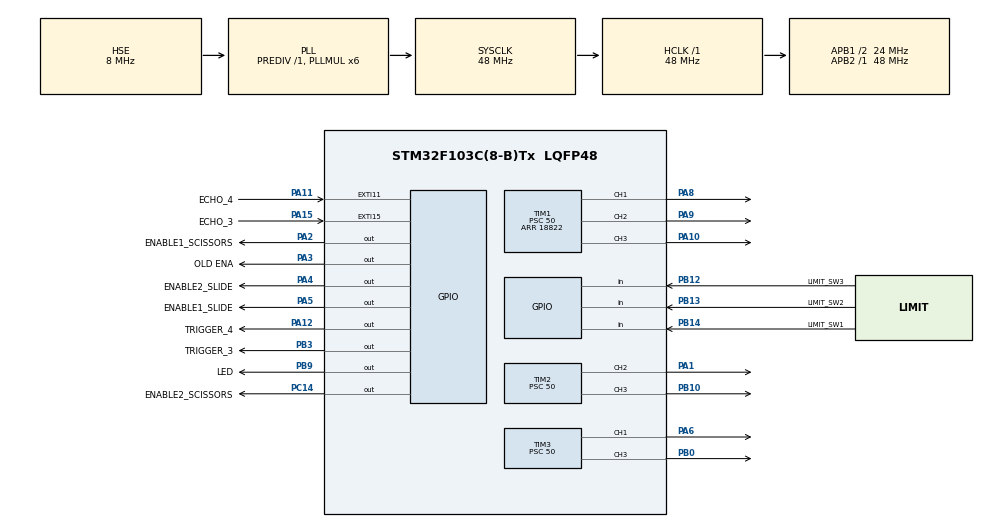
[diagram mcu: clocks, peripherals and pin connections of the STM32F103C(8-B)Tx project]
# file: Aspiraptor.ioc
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Mcu.Family=STM32F1
Mcu.Name=STM32F103C(8-B)Tx
Mcu.Package=LQFP48
NVIC.EXTI15_10_IRQn=true\:0\:0\:false\:false\:true\:true\:true\:true
NVIC.PriorityGroup=NVIC_PRIORITYGROUP_4
NVIC.TIM4_IRQn=true\:0\:0\:false\:false\:true\:true\:true\:true
PA1.Signal=S_TIM2_CH2
PA10.Signal=S_TIM1_CH3
PA11.GPIO_Label=ECHO_4
PA11.GPIO_ModeDefaultEXTI=GPIO_MODE_IT_RISING_FALLING
PA11.Signal=GPXTI11
PA12.GPIO_Label=TRIGGER_4
PA12.GPIO_Speed=GPIO_SPEED_FREQ_HIGH
PA12.Signal=GPIO_Output
PA13.Mode=Serial_Wire
PA13.Signal=SYS_JTMS-SWDIO
PA14.Mode=Serial_Wire
PA14.Signal=SYS_JTCK-SWCLK
PA15.GPIO_Label=ECHO_3
PA15.GPIO_ModeDefaultEXTI=GPIO_MODE_IT_RISING_FALLING
PA15.Signal=GPXTI15
PA2.GPIO_Label=ENABLE1_SCISSORS
PA2.Signal=GPIO_Output
PA3.GPIO_Label=OLD ENA
PA3.Signal=GPIO_Output
PA4.GPIO_Label=ENABLE2_SLIDE
PA4.Signal=GPIO_Output
PA5.GPIO_Label=ENABLE1_SLIDE
PA5.Signal=GPIO_Output
PA6.Signal=S_TIM3_CH1
PA8.Signal=S_TIM1_CH1
PA9.Signal=S_TIM1_CH2
PB0.Signal=S_TIM3_CH3
PB10.Signal=S_TIM2_CH3
PB12.GPIO_Label=LIMIT_SW3
PB12.Signal=GPIO_Input
PB13.GPIO_Label=LIMIT_SW2
PB13.Signal=GPIO_Input
PB14.GPIO_Label=LIMIT_SW1
PB14.Signal=GPIO_Input
PB3.GPIO_Label=TRIGGER_3
PB3.GPIO_Speed=GPIO_SPEED_FREQ_HIGH
PB3.Signal=GPIO_Output
PB9.GPIO_Label=LED
PB9.GPIO_Speed=GPIO_SPEED_FREQ_LOW
PB9.Signal=GPIO_Output
PC14-OSC32_IN.GPIO_Label=ENABLE2_SCISSORS
PC14-OSC32_IN.GPIO_Speed=GPIO_SPEED_FREQ_HIGH
PC14-OSC32_IN.Signal=GPIO_Output
PD0-OSC_IN.Mode=HSE-External-Oscillator
PD0-OSC_IN.Signal=RCC_OSC_IN
PD1-OSC_OUT.Mode=HSE-External-Oscillator
PD1-OSC_OUT.Signal=RCC_OSC_OUT
ProjectManager.HeapSize=0x200
ProjectManager.StackSize=0x400
ProjectManager.TargetToolchain=STM32CubeIDE
RCC.AHBFreq_Value=48000000
RCC.APB1CLKDivider=RCC_HCLK_DIV2
RCC.APB1Freq_Value=24000000
RCC.APB1TimFreq_Value=48000000
RCC.APB2Freq_Value=48000000
RCC.APB2TimFreq_Value=48000000
RCC.HCLKFreq_Value=48000000
RCC.PLLMUL=RCC_PLL_MUL6
RCC.PLLSourceVirtual=RCC_PLLSOURCE_HSE
RCC.SYSCLKFreq_VALUE=48000000
RCC.SYSCLKSource=RCC_SYSCLKSOURCE_PLLCLK
RCC.USBFreq_Value=48000000
SH.S_TIM1_CH1.0=TIM1_CH1,PWM Generation1 CH1
SH.S_TIM1_CH2.0=TIM1_CH2,PWM Generation2 CH2
SH.S_TIM1_CH3.0=TIM1_CH3,PWM Generation3 CH3
SH.S_TIM2_CH2.0=TIM2_CH2,PWM Generation2 CH2
SH.S_TIM2_CH3.0=TIM2_CH3,PWM Generation3 CH3
SH.S_TIM3_CH1.0=TIM3_CH1,PWM Generation1 CH1
SH.S_TIM3_CH3.0=TIM3_CH3,PWM Generation3 CH3
TIM1.Channel-PWM\ Generation1\ CH1=TIM_CHANNEL_1
TIM1.Channel-PWM\ Generation2\ CH2=TIM_CHANNEL_2
TIM1.Channel-PWM\ Generation3\ CH3=TIM_CHANNEL_3
TIM1.Period=18822
TIM1.Prescaler=50
TIM2.Channel-PWM\ Generation2\ CH2=TIM_CHANNEL_2
TIM2.Channel-PWM\ Generation3\ CH3=TIM_CHANNEL_3
TIM2.Period=18822
TIM2.Prescaler=50
TIM3.Channel-PWM\ Generation1\ CH1=TIM_CHANNEL_1
TIM3.Channel-PWM\ Generation3\ CH3=TIM_CHANNEL_3
TIM3.Period=18822
TIM3.Prescaler=50
TIM4.Prescaler=47
VP_TIM4_VS_ClockSourceINT.Mode=Internal
board=custom

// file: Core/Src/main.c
/* USER CODE BEGIN Header */
/**
  ******************************************************************************
  * @file           : main.c
  * @brief          : Main program body
  ******************************************************************************
  * @attention
  *
  * Copyright (c) 2026 STMicroelectronics.
  * All rights reserved.
  *
  * This software is licensed under terms that can be found in the LICENSE file
  * in the root directory of this software component.
  * If no LICENSE file comes with this software, it is provided AS-IS.
  *
  ******************************************************************************
  */
/* USER CODE END Header */
#include "main.h"

/* USER CODE BEGIN Includes */

#include <stdbool.h>

// Importation des fichiers
#include "ServoMotor.h"
#include "LimitSwitch.h"
#include "Scissors.h"
#include "Slide.h"
#include "VacuumMotor.h"
#include "UltrasonicSensor.h"
#include "MainLogic.h"

/* USER CODE END Includes */

TIM_HandleTypeDef htim1;
TIM_HandleTypeDef htim2;
TIM_HandleTypeDef htim3;
TIM_HandleTypeDef htim4;

void SystemClock_Config(void);
static void MX_GPIO_Init(void);
static void MX_TIM1_Init(void);
static void MX_TIM2_Init(void);
static void MX_TIM3_Init(void);
static void MX_TIM4_Init(void);

int main(void)
{

  /* MCU Configuration--------------------------------------------------------*/

  /* Reset of all peripherals, Initializes the Flash interface and the Systick. */
  HAL_Init();

  /* Configure the system clock */
  SystemClock_Config();

  /* Initialize all configured peripherals */
  MX_GPIO_Init();
  MX_TIM1_Init();
  MX_TIM2_Init();
  MX_TIM3_Init();
  MX_TIM4_Init();
  /* USER CODE BEGIN 2 */

  // ==============================================
  //     Initialisation de tous les composants
  // ==============================================

  // ========== Servos ==========

  servomotors.channel_bl = TIM_CHANNEL_3;
  servomotors.timer_bl = &htim1;
  servomotors.channel_br = TIM_CHANNEL_2;
  servomotors.timer_br = &htim1;
  servomotors.channel_fr = TIM_CHANNEL_1;
  servomotors.timer_fr = &htim1;
  // servomotors.channel_fl = TIM_CHANNEL_3; // TODO
  // servomotors.timer_fl = &htim1;
  servomotor_init();

  // ========== Ciseaux ==========

  scissors.timer = &htim2;
  scissors.channel = TIM_CHANNEL_2;

  scissors_init();

  // ========== Glissière ==========

  slide.timer = &htim3;
  slide.channel = TIM_CHANNEL_1;

  slide_init();

  // ========== Aspirateur ==========

  vacuum_motor.timer = &htim3;
  vacuum_motor.channel = TIM_CHANNEL_3;

  vacuum_motor_init();

  // ========== Ultrasons ==========

  ultrasonic_sensors.timer = &htim4;

  ultrasonic_sensors.port_echo_back = ECHO_3_GPIO_Port;
  ultrasonic_sensors.pin_echo_back = ECHO_3_Pin;
  ultrasonic_sensors.port_trigger_back = TRIGGER_3_GPIO_Port;
  ultrasonic_sensors.pin_trigger_back = TRIGGER_3_Pin;

  ultrasonic_sensors.port_echo_bottom = ECHO_4_GPIO_Port;
  ultrasonic_sensors.pin_echo_bottom = ECHO_4_Pin;
  ultrasonic_sensors.port_trigger_bottom = TRIGGER_4_GPIO_Port;
  ultrasonic_sensors.pin_trigger_bottom = TRIGGER_4_Pin;

  // TODO manquent les deux autres ultrasons
  // pas encore en place sur le robot

  ultrasonic_sensor_init();

  // ==============================================
  //     Mise en route du robot - vérif capteurs
  // ==============================================

  // On éloigne les ciseaux et la glissière
  // des capteurs de fin de course pour les
  // repositionner correctement
  scissors_extend();
  slide_extend();

  HAL_Delay(500);

  // Reset ciseaux et glissière
  bool done_scissors = false;
  bool done_slide = false;
  while (!done_scissors || !done_slide){ // Tant que ciseaux et glissière ne sont pas en butée

	  // Reset ciseaux en position rentrée
	  if (is_limit_switch_active(LIMIT_SWITCH_SCISSORS)){
		  scissors_stop();
		  done_scissors = true;
	  }else{
		  scissors_retract();
	  }

	  // Reset glissière en position rentrée
	  if (is_limit_switch_active(LIMIT_SWITCH_SLIDE_IN)){
		  slide_stop();
		  done_slide = true;
	  }else {
		  slide_retract();
	  }
  }

  // Ajout d'un petit décalage avec le capteur de la glissière
  slide_extend();
  HAL_Delay(500);
  slide_stop();

  // HAL_TIM_Base_Start_IT(&htim4); // TODO lance le timer 4
  // Normalement pas utile, on garde la commande sous
  // la main au cas où

  // ==============================================
  //            Programme principal
  // ==============================================

  // Variables pour la montée de marche
  // Version de test
  // TODO faire un truc plus clair et généraliste
  float d_back; // distance capteur devant
  float d_left; // distance capteur gauche
  float d_front; // distance capteur avant
  float prev_d_left[5] = {0,0,0,0,0}; // précédent distance capteur gauche
  enum {
	MODE_INIT,
	MODE_CLIMB,
	MODE_STAIR,
  MODE_FLAT
} mode = MODE_INIT;

  /* USER CODE END 2 */

  /* Infinite loop */
  while (1)
  {

    /* USER CODE BEGIN 3 */

	  // Mesure avec les ultrasons
	  // ultrasonic_sensor_mesure_all(); // TODO bloque, bug à voir
	  // On remplace par :

	  // Fait une mesure (1 ultrason chacun son tour)
	  ultrasonic_sensor_next_mesure();
	  HAL_Delay(10);

	  // actualisation d (à modifier plus tard pour un truc plus propre)
	  d_back = ultrasonic_sensors.distance_back;
    d_left = ultrasonic_sensors.distance_left;

	  // TODO Temp Test led et distance pour debug
	  /*if (d <= 100){
		  HAL_GPIO_WritePin(LED_GPIO_Port, LED_Pin, GPIO_PIN_SET);
	  }else{
		  HAL_GPIO_WritePin(LED_GPIO_Port, LED_Pin, GPIO_PIN_RESET);
	  }
	  */
    switch(mode){
      case MODE_INIT:
      if (init(d_left,d_back)){
        mode = MODE_CLIMB;
      }
      break;

      case MODE_CLIMB:
      if (climb(d_back)){
        mode = MODE_STAIR;
      }
      break;

    }

  }
  /* USER CODE END 3 */
}

void SystemClock_Config(void)
{
  RCC_OscInitTypeDef RCC_OscInitStruct = {0};
  RCC_ClkInitTypeDef RCC_ClkInitStruct = {0};

  /** Initializes the RCC Oscillators according to the specified parameters
  * in the RCC_OscInitTypeDef structure.
  */
  RCC_OscInitStruct.OscillatorType = RCC_OSCILLATORTYPE_HSE;
  RCC_OscInitStruct.HSEState = RCC_HSE_ON;
  RCC_OscInitStruct.HSEPredivValue = RCC_HSE_PREDIV_DIV1;
  RCC_OscInitStruct.HSIState = RCC_HSI_ON;
  RCC_OscInitStruct.PLL.PLLState = RCC_PLL_ON;
  RCC_OscInitStruct.PLL.PLLSource = RCC_PLLSOURCE_HSE;
  RCC_OscInitStruct.PLL.PLLMUL = RCC_PLL_MUL6;
  if (HAL_RCC_OscConfig(&RCC_OscInitStruct) != HAL_OK)
  {
    Error_Handler();
  }

  /** Initializes the CPU, AHB and APB buses clocks
  */
  RCC_ClkInitStruct.ClockType = RCC_CLOCKTYPE_HCLK|RCC_CLOCKTYPE_SYSCLK
                              |RCC_CLOCKTYPE_PCLK1|RCC_CLOCKTYPE_PCLK2;
  RCC_ClkInitStruct.SYSCLKSource = RCC_SYSCLKSOURCE_PLLCLK;
  RCC_ClkInitStruct.AHBCLKDivider = RCC_SYSCLK_DIV1;
  RCC_ClkInitStruct.APB1CLKDivider = RCC_HCLK_DIV2;
  RCC_ClkInitStruct.APB2CLKDivider = RCC_HCLK_DIV1;

  if (HAL_RCC_ClockConfig(&RCC_ClkInitStruct, FLASH_LATENCY_1) != HAL_OK)
  {
    Error_Handler();
  }
}

static void MX_TIM1_Init(void)
{

  TIM_MasterConfigTypeDef sMasterConfig = {0};
  TIM_OC_InitTypeDef sConfigOC = {0};
  TIM_BreakDeadTimeConfigTypeDef sBreakDeadTimeConfig = {0};

  htim1.Instance = TIM1;
  htim1.Init.Prescaler = 50;
  htim1.Init.CounterMode = TIM_COUNTERMODE_UP;
  htim1.Init.Period = 18822;
  htim1.Init.ClockDivision = TIM_CLOCKDIVISION_DIV1;
  htim1.Init.RepetitionCounter = 0;
  htim1.Init.AutoReloadPreload = TIM_AUTORELOAD_PRELOAD_DISABLE;
  if (HAL_TIM_PWM_Init(&htim1) != HAL_OK)
  {
    Error_Handler();
  }
  sMasterConfig.MasterOutputTrigger = TIM_TRGO_RESET;
  sMasterConfig.MasterSlaveMode = TIM_MASTERSLAVEMODE_DISABLE;
  if (HAL_TIMEx_MasterConfigSynchronization(&htim1, &sMasterConfig) != HAL_OK)
  {
    Error_Handler();
  }
  sConfigOC.OCMode = TIM_OCMODE_PWM1;
  sConfigOC.Pulse = 0;
  sConfigOC.OCPolarity = TIM_OCPOLARITY_HIGH;
  sConfigOC.OCNPolarity = TIM_OCNPOLARITY_HIGH;
  sConfigOC.OCFastMode = TIM_OCFAST_DISABLE;
  sConfigOC.OCIdleState = TIM_OCIDLESTATE_RESET;
  sConfigOC.OCNIdleState = TIM_OCNIDLESTATE_RESET;
  if (HAL_TIM_PWM_ConfigChannel(&htim1, &sConfigOC, TIM_CHANNEL_1) != HAL_OK)
  {
    Error_Handler();
  }
  if (HAL_TIM_PWM_ConfigChannel(&htim1, &sConfigOC, TIM_CHANNEL_2) != HAL_OK)
  {
    Error_Handler();
  }
  if (HAL_TIM_PWM_ConfigChannel(&htim1, &sConfigOC, TIM_CHANNEL_3) != HAL_OK)
  {
    Error_Handler();
  }
  sBreakDeadTimeConfig.OffStateRunMode = TIM_OSSR_DISABLE;
  sBreakDeadTimeConfig.OffStateIDLEMode = TIM_OSSI_DISABLE;
  sBreakDeadTimeConfig.LockLevel = TIM_LOCKLEVEL_OFF;
  sBreakDeadTimeConfig.DeadTime = 0;
  sBreakDeadTimeConfig.BreakState = TIM_BREAK_DISABLE;
  sBreakDeadTimeConfig.BreakPolarity = TIM_BREAKPOLARITY_HIGH;
  sBreakDeadTimeConfig.AutomaticOutput = TIM_AUTOMATICOUTPUT_DISABLE;
  if (HAL_TIMEx_ConfigBreakDeadTime(&htim1, &sBreakDeadTimeConfig) != HAL_OK)
  {
    Error_Handler();
  }
  HAL_TIM_MspPostInit(&htim1);

}

static void MX_TIM2_Init(void)
{

  TIM_MasterConfigTypeDef sMasterConfig = {0};
  TIM_OC_InitTypeDef sConfigOC = {0};

  htim2.Instance = TIM2;
  htim2.Init.Prescaler = 50;
  htim2.Init.CounterMode = TIM_COUNTERMODE_UP;
  htim2.Init.Period = 18822;
  htim2.Init.ClockDivision = TIM_CLOCKDIVISION_DIV1;
  htim2.Init.AutoReloadPreload = TIM_AUTORELOAD_PRELOAD_DISABLE;
  if (HAL_TIM_PWM_Init(&htim2) != HAL_OK)
  {
    Error_Handler();
  }
  sMasterConfig.MasterOutputTrigger = TIM_TRGO_RESET;
  sMasterConfig.MasterSlaveMode = TIM_MASTERSLAVEMODE_DISABLE;
  if (HAL_TIMEx_MasterConfigSynchronization(&htim2, &sMasterConfig) != HAL_OK)
  {
    Error_Handler();
  }
  sConfigOC.OCMode = TIM_OCMODE_PWM1;
  sConfigOC.Pulse = 0;
  sConfigOC.OCPolarity = TIM_OCPOLARITY_HIGH;
  sConfigOC.OCFastMode = TIM_OCFAST_DISABLE;
  if (HAL_TIM_PWM_ConfigChannel(&htim2, &sConfigOC, TIM_CHANNEL_2) != HAL_OK)
  {
    Error_Handler();
  }
  HAL_TIM_MspPostInit(&htim2);

}

static void MX_TIM3_Init(void)
{

  TIM_MasterConfigTypeDef sMasterConfig = {0};
  TIM_OC_InitTypeDef sConfigOC = {0};

  htim3.Instance = TIM3;
  htim3.Init.Prescaler = 50;
  htim3.Init.CounterMode = TIM_COUNTERMODE_UP;
  htim3.Init.Period = 18822;
  htim3.Init.ClockDivision = TIM_CLOCKDIVISION_DIV1;
  htim3.Init.AutoReloadPreload = TIM_AUTORELOAD_PRELOAD_DISABLE;
  if (HAL_TIM_PWM_Init(&htim3) != HAL_OK)
  {
    Error_Handler();
  }
  sMasterConfig.MasterOutputTrigger = TIM_TRGO_RESET;
  sMasterConfig.MasterSlaveMode = TIM_MASTERSLAVEMODE_DISABLE;
  if (HAL_TIMEx_MasterConfigSynchronization(&htim3, &sMasterConfig) != HAL_OK)
  {
    Error_Handler();
  }
  sConfigOC.OCMode = TIM_OCMODE_PWM1;
  sConfigOC.Pulse = 0;
  sConfigOC.OCPolarity = TIM_OCPOLARITY_HIGH;
  sConfigOC.OCFastMode = TIM_OCFAST_DISABLE;
  if (HAL_TIM_PWM_ConfigChannel(&htim3, &sConfigOC, TIM_CHANNEL_1) != HAL_OK)
  {
    Error_Handler();
  }
  if (HAL_TIM_PWM_ConfigChannel(&htim3, &sConfigOC, TIM_CHANNEL_3) != HAL_OK)
  {
    Error_Handler();
  }
  HAL_TIM_MspPostInit(&htim3);

}

static void MX_TIM4_Init(void)
{

  TIM_ClockConfigTypeDef sClockSourceConfig = {0};
  TIM_MasterConfigTypeDef sMasterConfig = {0};

  htim4.Instance = TIM4;
  htim4.Init.Prescaler = 47;
  htim4.Init.CounterMode = TIM_COUNTERMODE_UP;
  htim4.Init.Period = 65535;
  htim4.Init.ClockDivision = TIM_CLOCKDIVISION_DIV1;
  htim4.Init.AutoReloadPreload = TIM_AUTORELOAD_PRELOAD_DISABLE;
  if (HAL_TIM_Base_Init(&htim4) != HAL_OK)
  {
    Error_Handler();
  }
  sClockSourceConfig.ClockSource = TIM_CLOCKSOURCE_INTERNAL;
  if (HAL_TIM_ConfigClockSource(&htim4, &sClockSourceConfig) != HAL_OK)
  {
    Error_Handler();
  }
  sMasterConfig.MasterOutputTrigger = TIM_TRGO_RESET;
  sMasterConfig.MasterSlaveMode = TIM_MASTERSLAVEMODE_DISABLE;
  if (HAL_TIMEx_MasterConfigSynchronization(&htim4, &sMasterConfig) != HAL_OK)
  {
    Error_Handler();
  }

}

static void MX_GPIO_Init(void)
{
  GPIO_InitTypeDef GPIO_InitStruct = {0};

  /* GPIO Ports Clock Enable */
  __HAL_RCC_GPIOC_CLK_ENABLE();
  __HAL_RCC_GPIOD_CLK_ENABLE();
  __HAL_RCC_GPIOA_CLK_ENABLE();
  __HAL_RCC_GPIOB_CLK_ENABLE();

  /*Configure GPIO pin Output Level */
  HAL_GPIO_WritePin(ENABLE2_SCISSORS_GPIO_Port, ENABLE2_SCISSORS_Pin, GPIO_PIN_RESET);

  /*Configure GPIO pin Output Level */
  HAL_GPIO_WritePin(GPIOA, ENABLE1_SCISSORS_Pin|OLD_ENA_Pin|ENABLE2_SLIDE_Pin|ENABLE1_SLIDE_Pin
                          |TRIGGER_4_Pin, GPIO_PIN_RESET);

  /*Configure GPIO pin Output Level */
  HAL_GPIO_WritePin(GPIOB, TRIGGER_3_Pin|LED_Pin, GPIO_PIN_RESET);

  /*Configure GPIO pin : ENABLE2_SCISSORS_Pin */
  GPIO_InitStruct.Pin = ENABLE2_SCISSORS_Pin;
  GPIO_InitStruct.Mode = GPIO_MODE_OUTPUT_PP;
  GPIO_InitStruct.Pull = GPIO_NOPULL;
  GPIO_InitStruct.Speed = GPIO_SPEED_FREQ_HIGH;
  HAL_GPIO_Init(ENABLE2_SCISSORS_GPIO_Port, &GPIO_InitStruct);

  /*Configure GPIO pins : ENABLE1_SCISSORS_Pin OLD_ENA_Pin ENABLE2_SLIDE_Pin ENABLE1_SLIDE_Pin */
  GPIO_InitStruct.Pin = ENABLE1_SCISSORS_Pin|OLD_ENA_Pin|ENABLE2_SLIDE_Pin|ENABLE1_SLIDE_Pin;
  GPIO_InitStruct.Mode = GPIO_MODE_OUTPUT_PP;
  GPIO_InitStruct.Pull = GPIO_NOPULL;
  GPIO_InitStruct.Speed = GPIO_SPEED_FREQ_LOW;
  HAL_GPIO_Init(GPIOA, &GPIO_InitStruct);

  /*Configure GPIO pins : LIMIT_SW3_Pin LIMIT_SW2_Pin LIMIT_SW1_Pin */
  GPIO_InitStruct.Pin = LIMIT_SW3_Pin|LIMIT_SW2_Pin|LIMIT_SW1_Pin;
  GPIO_InitStruct.Mode = GPIO_MODE_INPUT;
  GPIO_InitStruct.Pull = GPIO_NOPULL;
  HAL_GPIO_Init(GPIOB, &GPIO_InitStruct);

  /*Configure GPIO pins : ECHO_4_Pin ECHO_3_Pin */
  GPIO_InitStruct.Pin = ECHO_4_Pin|ECHO_3_Pin;
  GPIO_InitStruct.Mode = GPIO_MODE_IT_RISING_FALLING;
  GPIO_InitStruct.Pull = GPIO_NOPULL;
  HAL_GPIO_Init(GPIOA, &GPIO_InitStruct);

  /*Configure GPIO pin : TRIGGER_4_Pin */
  GPIO_InitStruct.Pin = TRIGGER_4_Pin;
  GPIO_InitStruct.Mode = GPIO_MODE_OUTPUT_PP;
  GPIO_InitStruct.Pull = GPIO_NOPULL;
  GPIO_InitStruct.Speed = GPIO_SPEED_FREQ_HIGH;
  HAL_GPIO_Init(TRIGGER_4_GPIO_Port, &GPIO_InitStruct);

  /*Configure GPIO pin : TRIGGER_3_Pin */
  GPIO_InitStruct.Pin = TRIGGER_3_Pin;
  GPIO_InitStruct.Mode = GPIO_MODE_OUTPUT_PP;
  GPIO_InitStruct.Pull = GPIO_NOPULL;
  GPIO_InitStruct.Speed = GPIO_SPEED_FREQ_HIGH;
  HAL_GPIO_Init(TRIGGER_3_GPIO_Port, &GPIO_InitStruct);

  /*Configure GPIO pin : LED_Pin */
  GPIO_InitStruct.Pin = LED_Pin;
  GPIO_InitStruct.Mode = GPIO_MODE_OUTPUT_PP;
  GPIO_InitStruct.Pull = GPIO_NOPULL;
  GPIO_InitStruct.Speed = GPIO_SPEED_FREQ_LOW;
  HAL_GPIO_Init(LED_GPIO_Port, &GPIO_InitStruct);

  /* EXTI interrupt init*/
  HAL_NVIC_SetPriority(EXTI15_10_IRQn, 0, 0);
  HAL_NVIC_EnableIRQ(EXTI15_10_IRQn);

}

void Error_Handler(void)
{
  __disable_irq();
  while (1)
  {
  }
}
